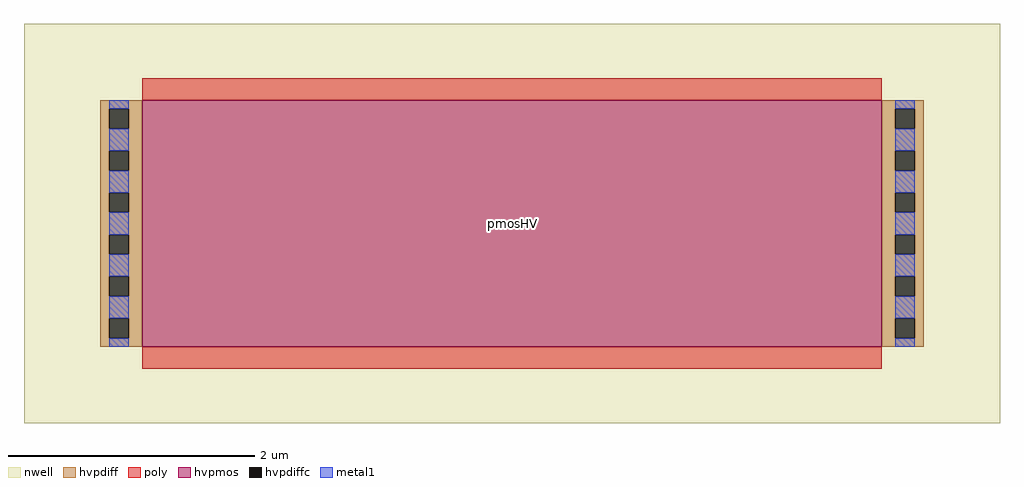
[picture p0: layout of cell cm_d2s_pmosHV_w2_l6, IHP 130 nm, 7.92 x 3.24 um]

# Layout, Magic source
magic
tech ihp-sg13cmos5l
<< nwell >>
rect -62 -62 730 262
<< hvpmos >>
rect 34 0 634 200
<< hvpdiff >>
rect 0 193 34 200
rect 0 177 7 193
rect 23 177 34 193
rect 0 159 34 177
rect 0 143 7 159
rect 23 143 34 159
rect 0 125 34 143
rect 0 109 7 125
rect 23 109 34 125
rect 0 91 34 109
rect 0 75 7 91
rect 23 75 34 91
rect 0 57 34 75
rect 0 41 7 57
rect 23 41 34 57
rect 0 23 34 41
rect 0 7 7 23
rect 23 7 34 23
rect 0 0 34 7
rect 634 193 668 200
rect 634 177 645 193
rect 661 177 668 193
rect 634 159 668 177
rect 634 143 645 159
rect 661 143 668 159
rect 634 125 668 143
rect 634 109 645 125
rect 661 109 668 125
rect 634 91 668 109
rect 634 75 645 91
rect 661 75 668 91
rect 634 57 668 75
rect 634 41 645 57
rect 661 41 668 57
rect 634 23 668 41
rect 634 7 645 23
rect 661 7 668 23
rect 634 0 668 7
<< hvpdiffc >>
rect 7 177 23 193
rect 7 143 23 159
rect 7 109 23 125
rect 7 75 23 91
rect 7 41 23 57
rect 7 7 23 23
rect 645 177 661 193
rect 645 143 661 159
rect 645 109 661 125
rect 645 75 661 91
rect 645 41 661 57
rect 645 7 661 23
<< poly >>
rect 34 200 634 218
rect 34 -18 634 0
<< metal1 >>
rect 7 193 23 200
rect 7 159 23 177
rect 7 125 23 143
rect 7 91 23 109
rect 7 57 23 75
rect 7 23 23 41
rect 7 0 23 7
rect 645 193 661 200
rect 645 159 661 177
rect 645 125 661 143
rect 645 91 661 109
rect 645 57 661 75
rect 645 23 661 41
rect 645 0 661 7
<< labels >>
flabel comment s 334 100 334 100 0 FreeSans 100 90 0 0 pmosHV
<< properties >>
string GDS_END 32966
string GDS_FILE custom_io/gds/sg13cmos5l_IOPadDiff2Single.uniq.gds
string GDS_START 31220
<< end >>
